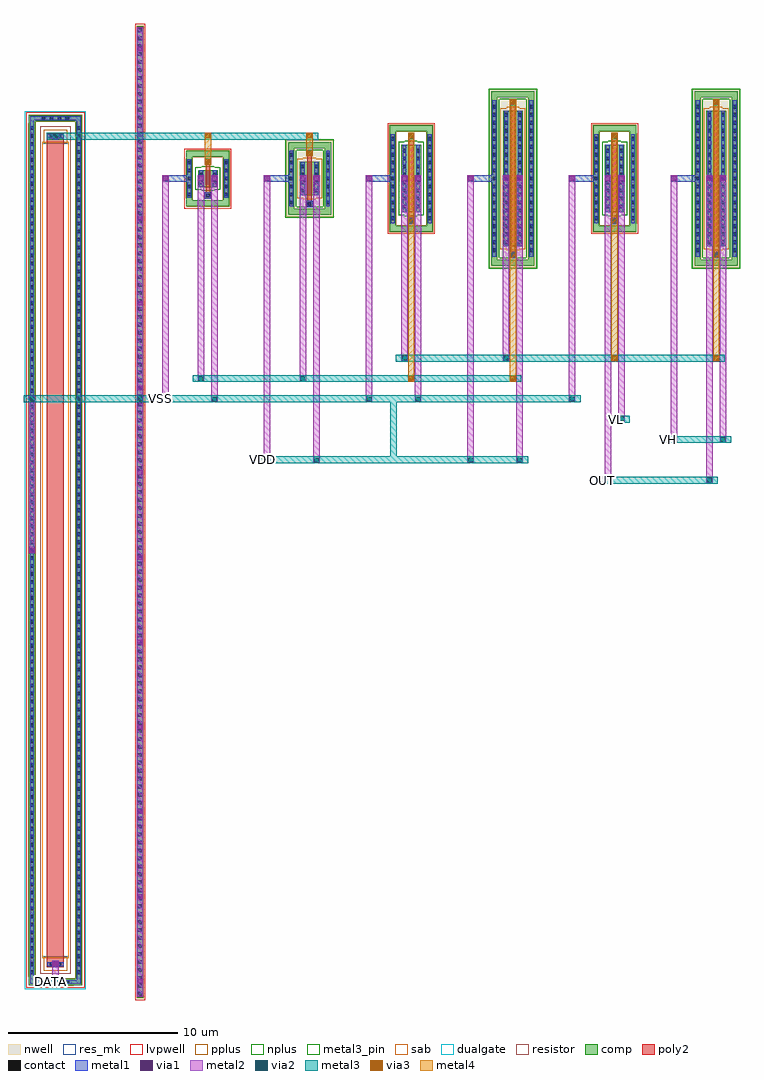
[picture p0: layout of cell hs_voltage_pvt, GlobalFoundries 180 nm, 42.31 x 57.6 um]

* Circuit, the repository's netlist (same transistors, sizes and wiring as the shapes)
* NGSPICE file created from hs_voltage_pvt.ext - technology: gf180mcuD

.subckt hs_voltage_pvt DATA OUT VH VL VSS
X0 VL a_3084_3600# OUT VSS nfet_03v3 ad=1.76p pd=8.88u as=1.76p ps=8.88u w=4u l=0.28u
X1 a_n1100_4414# DATA VSS ppolyf_u_1k_6p0 r_width=1u r_length=48u
X2 VSS a_684_3900# a_3084_3600# VSS nfet_03v3 ad=1.76p pd=8.88u as=1.76p ps=8.88u w=4u l=0.28u
X3 VSS a_n1100_4414# a_684_3900# VSS nfet_03v3 ad=0.44p pd=2.88u as=0.44p ps=2.88u w=1u l=0.28u
X4 VH a_3084_3600# OUT VH pfet_03v3 ad=3.52p pd=16.88u as=3.52p ps=16.88u w=8u l=0.28u
X5 VSS a_n1100_4414# a_684_3900# VSS pfet_03v3 ad=0.88p pd=4.88u as=0.88p ps=4.88u w=2u l=0.28u
X6 VSS a_684_3900# a_3084_3600# VSS pfet_03v3 ad=3.52p pd=16.88u as=3.52p ps=16.88u w=8u l=0.28u
.ends

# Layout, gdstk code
import gdstk
lib = gdstk.Library(unit=1e-6, precision=1e-09)
def R(c, l, rs):  # rectangles x0, y0, x1, y1
    for r in rs: c.add(gdstk.rectangle(r[:2], r[2:], *l))
def A(c, l, x, y, w, h, nx, ny, dx, dy):  # array of equal rectangles
    R(c, l, [(x+i*dx, y+j*dy, x+i*dx+w, y+j*dy+h) for i in range(nx) for j in range(ny)])
def P(c, l, *ps):  # polygons
    for p in ps: c.add(gdstk.Polygon(p, *l))
nwell = (21, 0)
comp = (22, 0)
poly2 = (30, 0)
pplus = (31, 0)
nplus = (32, 0)
contact = (33, 0)
metal1 = (34, 0)
via1 = (35, 0)
metal2 = (36, 0)
via2 = (38, 0)
via3 = (40, 0)
metal3 = (42, 0)
metal3_pin = (42, 10)
metal4 = (46, 0)
sab = (49, 0)
dualgate = (55, 0)
resistor = (62, 0)
res_mk = (110, 5)
lvpwell = (204, 0)

hs_voltage_pvt = lib.new_cell('hs_voltage_pvt')
R(hs_voltage_pvt, nwell, [(20.61,14.73,23.39,25.27), (32.61,14.73,35.39,25.27), (8.61,17.73,11.39,22.27)])
R(hs_voltage_pvt, comp, [(-0.18,-28.36,0.18,29), (-6.56,-27.6,-3.44,-27.24), (-6.56,-27.24,-6.2,23.38), (-3.8,-27.24,-3.44,23.38), (20.73,14.85,23.27,15.21), (32.73,14.85,35.27,15.21), (20.73,15.21,21.09,24.79), (22.91,15.21,23.27,24.79), (32.73,15.21,33.09,24.79), (34.91,15.21,35.27,24.79), (21.42,16,22.58,24), (33.42,16,34.58,24), (14.73,16.85,17.27,17.21), (26.73,16.85,29.27,17.21), (14.73,17.21,15.09,22.79), (16.91,17.21,17.27,22.79), (26.73,17.21,27.09,22.79), (28.91,17.21,29.27,22.79), (8.73,17.85,11.27,18.21), (15.42,18,16.58,22), (27.42,18,28.58,22), (8.73,18.21,9.09,21.79), (10.91,18.21,11.27,21.79), (2.73,18.35,5.27,18.71), (2.73,18.71,3.09,21.29), (4.91,18.71,5.27,21.29), (9.42,19,10.58,21), (3.42,19.5,4.58,20.5), (2.73,21.29,5.27,21.65), (8.73,21.79,11.27,22.15), (14.73,22.79,17.27,23.15), (26.73,22.79,29.27,23.15), (-6.56,23.38,-3.44,23.74), (20.73,24.79,23.27,25.15), (32.73,24.79,35.27,25.15)])
R(hs_voltage_pvt, poly2, [(-5.5,-26.54,-4.5,22.68), (21.82,15.32,22.18,15.68), (33.82,15.32,34.18,15.68), (21.86,15.68,22.14,24.32), (33.86,15.68,34.14,24.32), (15.82,17.32,16.18,17.68), (27.82,17.32,28.18,17.68), (15.86,17.68,16.14,22.32), (27.86,17.68,28.14,22.32), (9.82,18.32,10.18,18.68), (9.86,18.68,10.14,21.32), (3.82,18.82,4.18,19.18), (3.86,19.18,4.14,20.82), (3.82,20.82,4.18,21.18), (9.82,21.32,10.18,21.68), (15.82,22.32,16.18,22.68), (27.82,22.32,28.18,22.68), (21.82,24.32,22.18,24.68), (33.82,24.32,34.18,24.68)])
R(hs_voltage_pvt, pplus, [(-0.21,-28.39,0.21,29.03), (-6.075,-27.63,-3.925,-27.62), (-6.58,-27.62,-3.42,-27.21), (-6.58,-27.21,-6.17,-27.115), (-3.83,-27.21,-3.42,-27.115), (-6.59,-27.115,-6.17,23.255), (-3.83,-27.115,-3.41,23.255), (-5.7,-26.74,-4.3,-25.93), (21.63,15.77,22.37,15.84), (33.63,15.77,34.37,15.84), (21.26,15.84,22.74,24.16), (33.26,15.84,34.74,24.16), (14.71,16.83,17.29,17.23), (26.71,16.83,29.29,17.23), (14.71,17.23,15.12,17.335), (16.88,17.23,17.29,17.335), (26.71,17.23,27.12,17.335), (28.88,17.23,29.29,17.335), (14.7,17.335,15.12,22.665), (16.88,17.335,17.3,22.665), (26.7,17.335,27.12,22.665), (28.88,17.335,29.3,22.665), (2.71,18.33,5.29,18.73), (2.71,18.73,3.12,18.835), (4.88,18.73,5.29,18.835), (9.63,18.77,10.37,18.84), (2.7,18.835,3.12,21.165), (4.88,18.835,5.3,21.165), (9.26,18.84,10.74,21.16), (9.63,21.16,10.37,21.23), (2.71,21.165,3.12,21.27), (4.88,21.165,5.29,21.27), (2.71,21.27,5.29,21.67), (-5.7,22.07,-4.3,22.88), (14.71,22.665,15.12,22.77), (16.88,22.665,17.29,22.77), (26.71,22.665,27.12,22.77), (28.88,22.665,29.29,22.77), (14.71,22.77,17.29,23.17), (26.71,22.77,29.29,23.17), (-6.58,23.255,-6.17,23.35), (-3.83,23.255,-3.42,23.35), (-6.58,23.35,-3.42,23.76), (-6.075,23.76,-3.925,23.77), (21.63,24.16,22.37,24.23), (33.63,24.16,34.37,24.23)])
R(hs_voltage_pvt, nplus, [(20.57,14.69,23.43,15.32), (32.57,14.69,35.43,15.32), (20.57,15.32,21.2,24.68), (22.8,15.32,23.43,24.68), (32.57,15.32,33.2,24.68), (34.8,15.32,35.43,24.68), (8.57,17.69,11.43,18.32), (15.63,17.77,16.37,17.84), (27.63,17.77,28.37,17.84), (15.26,17.84,16.74,22.16), (27.26,17.84,28.74,22.16), (8.57,18.32,9.2,21.68), (10.8,18.32,11.43,21.68), (3.63,19.27,4.37,19.34), (3.26,19.34,4.74,20.66), (3.63,20.66,4.37,20.73), (8.57,21.68,11.43,22.31), (15.63,22.16,16.37,22.23), (27.63,22.16,28.37,22.23), (20.57,24.68,23.43,25.31), (32.57,24.68,35.43,25.31)])
A(hs_voltage_pvt, contact, -0.11, -28.225, 0.22, 0.22, 1, 122, 0, 0.47)
A(hs_voltage_pvt, contact, -5.815, -27.53, 0.22, 0.22, 4, 2, 0.47, 50.98)
A(hs_voltage_pvt, contact, -6.49, -26.95, 0.22, 0.22, 1, 107, 0, 0.47)
A(hs_voltage_pvt, contact, -3.73, -26.95, 0.22, 0.22, 1, 107, 0, 0.47)
A(hs_voltage_pvt, contact, 20.8, 15.66, 0.22, 0.22, 1, 19, 0, 0.47)
A(hs_voltage_pvt, contact, 22.98, 15.66, 0.22, 0.22, 1, 19, 0, 0.47)
A(hs_voltage_pvt, contact, 32.8, 15.66, 0.22, 0.22, 1, 19, 0, 0.47)
A(hs_voltage_pvt, contact, 34.98, 15.66, 0.22, 0.22, 1, 19, 0, 0.47)
A(hs_voltage_pvt, contact, 21.49, 16.13, 0.22, 0.22, 1, 17, 0, 0.47)
A(hs_voltage_pvt, contact, 22.29, 16.13, 0.22, 0.22, 1, 17, 0, 0.47)
A(hs_voltage_pvt, contact, 33.49, 16.13, 0.22, 0.22, 1, 17, 0, 0.47)
A(hs_voltage_pvt, contact, 34.29, 16.13, 0.22, 0.22, 1, 17, 0, 0.47)
A(hs_voltage_pvt, contact, 14.8, 17.54, 0.22, 0.22, 1, 11, 0, 0.47)
A(hs_voltage_pvt, contact, 16.98, 17.54, 0.22, 0.22, 1, 11, 0, 0.47)
A(hs_voltage_pvt, contact, 26.8, 17.54, 0.22, 0.22, 1, 11, 0, 0.47)
A(hs_voltage_pvt, contact, 28.98, 17.54, 0.22, 0.22, 1, 11, 0, 0.47)
A(hs_voltage_pvt, contact, 15.49, 18.245, 0.22, 0.22, 1, 8, 0, 0.47)
A(hs_voltage_pvt, contact, 16.29, 18.245, 0.22, 0.22, 1, 8, 0, 0.47)
A(hs_voltage_pvt, contact, 27.49, 18.245, 0.22, 0.22, 1, 8, 0, 0.47)
A(hs_voltage_pvt, contact, 28.29, 18.245, 0.22, 0.22, 1, 8, 0, 0.47)
A(hs_voltage_pvt, contact, 8.8, 18.48, 0.22, 0.22, 1, 7, 0, 0.47)
A(hs_voltage_pvt, contact, 10.98, 18.48, 0.22, 0.22, 1, 7, 0, 0.47)
A(hs_voltage_pvt, contact, 2.8, 18.95, 0.22, 0.22, 1, 5, 0, 0.47)
A(hs_voltage_pvt, contact, 4.98, 18.95, 0.22, 0.22, 1, 5, 0, 0.47)
A(hs_voltage_pvt, contact, 9.49, 19.185, 0.22, 0.22, 1, 4, 0, 0.47)
A(hs_voltage_pvt, contact, 10.29, 19.185, 0.22, 0.22, 1, 4, 0, 0.47)
R(hs_voltage_pvt, contact, [(-5.345,-26.47,-5.125,-26.25), (-4.875,-26.47,-4.655,-26.25), (21.89,15.39,22.11,15.61), (33.89,15.39,34.11,15.61), (15.89,17.39,16.11,17.61), (27.89,17.39,28.11,17.61), (9.89,18.39,10.11,18.61), (3.89,18.89,4.11,19.11), (3.49,19.655,3.71,19.875), (4.29,19.655,4.51,19.875), (3.49,20.125,3.71,20.345), (4.29,20.125,4.51,20.345), (3.89,20.89,4.11,21.11), (9.89,21.39,10.11,21.61), (-5.345,22.39,-5.125,22.61), (-4.875,22.39,-4.655,22.61), (15.89,22.39,16.11,22.61), (27.89,22.39,28.11,22.61), (21.89,24.39,22.11,24.61), (33.89,24.39,34.11,24.61)])
A(hs_voltage_pvt, metal1, 1.31, 19.81, 1.72, 0.38, 6, 1, 6, 0)
R(hs_voltage_pvt, metal1, [(-0.19,-28.295,0.19,28.935), (-6.495,-27.535,-3.505,-27.305), (-6.495,-27.305,-6.265,-2.12), (-3.735,-27.305,-3.505,23.445), (-5.19,-26.55,-4.81,-26.475), (-5.49,-26.475,-4.51,-26.245), (-5.19,-26.245,-4.81,-26.17), (-6.57,-2.12,-6.19,-1.74), (-6.495,-1.74,-6.265,23.445), (21.81,15.31,22.19,15.69), (33.81,15.31,34.19,15.69), (20.795,15.375,21.025,19.81), (22.975,15.375,23.205,24.625), (32.795,15.375,33.025,19.81), (34.975,15.375,35.205,24.625), (21.485,16.01,21.715,19.81), (22.285,16.01,22.515,19.81), (33.485,16.01,33.715,19.81), (34.285,16.01,34.515,19.81), (15.81,17.31,16.19,17.69), (27.81,17.31,28.19,17.69), (14.795,17.375,15.025,19.81), (16.975,17.375,17.205,22.625), (26.795,17.375,27.025,19.81), (28.975,17.375,29.205,22.625), (15.485,18.01,15.715,19.81), (16.285,18.01,16.515,19.81), (27.485,18.01,27.715,19.81), (28.285,18.01,28.515,19.81), (9.81,18.31,10.19,18.69), (8.795,18.375,9.025,19.81), (10.975,18.375,11.205,21.625), (3.81,18.81,4.19,19.19), (2.795,18.875,3.025,19.81), (4.975,18.875,5.205,21.125), (9.485,19.01,9.715,19.81), (10.285,19.01,10.515,19.81), (3.485,19.51,3.715,19.81), (4.285,19.51,4.515,19.81), (3.41,19.81,3.79,20.19), (4.21,19.81,4.59,20.19), (9.41,19.81,9.79,20.19), (10.21,19.81,10.59,20.19), (15.41,19.81,15.79,20.19), (16.21,19.81,16.59,20.19), (21.41,19.81,21.79,20.19), (22.21,19.81,22.59,20.19), (27.41,19.81,27.79,20.19), (28.21,19.81,28.59,20.19), (33.41,19.81,33.79,20.19), (34.21,19.81,34.59,20.19), (2.795,20.19,3.025,21.125), (3.485,20.19,3.715,20.49), (4.285,20.19,4.515,20.49), (8.795,20.19,9.025,21.625), (9.485,20.19,9.715,20.99), (10.285,20.19,10.515,20.99), (14.795,20.19,15.025,22.625), (15.485,20.19,15.715,21.99), (16.285,20.19,16.515,21.99), (20.795,20.19,21.025,24.625), (21.485,20.19,21.715,23.99), (22.285,20.19,22.515,23.99), (26.795,20.19,27.025,22.625), (27.485,20.19,27.715,21.99), (28.285,20.19,28.515,21.99), (32.795,20.19,33.025,24.625), (33.485,20.19,33.715,23.99), (34.285,20.19,34.515,23.99), (3.81,20.81,4.19,21.19), (9.81,21.31,10.19,21.69), (-5.19,22.31,-4.81,22.385), (15.81,22.31,16.19,22.69), (27.81,22.31,28.19,22.69), (-5.49,22.385,-4.51,22.615), (-5.19,22.615,-4.81,22.69), (-6.495,23.445,-3.505,23.675), (21.81,24.31,22.19,24.69), (33.81,24.31,34.19,24.69)])
A(hs_voltage_pvt, via1, -0.13, -27.49, 0.26, 0.26, 1, 12, 0, 5)
R(hs_voltage_pvt, via1, [(-5.13,-26.49,-4.87,-26.23), (-6.51,-2.06,-6.25,-1.8), (1.37,19.87,1.63,20.13), (3.47,19.87,3.73,20.13), (4.27,19.87,4.53,20.13), (7.37,19.87,7.63,20.13), (9.47,19.87,9.73,20.13), (10.27,19.87,10.53,20.13), (13.37,19.87,13.63,20.13), (15.47,19.87,15.73,20.13), (16.27,19.87,16.53,20.13), (19.37,19.87,19.63,20.13), (21.47,19.87,21.73,20.13), (22.27,19.87,22.53,20.13), (25.37,19.87,25.63,20.13), (27.47,19.87,27.73,20.13), (28.27,19.87,28.53,20.13), (31.37,19.87,31.63,20.13), (33.47,19.87,33.73,20.13), (34.27,19.87,34.53,20.13), (3.87,20.87,4.13,21.13), (9.87,21.37,10.13,21.63), (-5.13,22.37,-4.87,22.63), (15.87,22.37,16.13,22.63), (27.87,22.37,28.13,22.63), (21.87,24.37,22.13,24.63), (33.87,24.37,34.13,24.63)])
R(hs_voltage_pvt, metal2, [(-0.19,-28.295,0.19,28.935), (-5.19,-27.55,-4.81,-26.17), (-6.57,-2.12,-6.19,7.19), (27.41,2.01,27.79,20.19), (33.41,2.01,33.79,20.19), (7.31,3.21,7.69,20.19), (10.21,3.21,10.59,20.19), (19.31,3.21,19.69,20.19), (22.21,3.21,22.59,20.19), (31.31,4.41,31.69,20.19), (34.21,4.41,34.59,20.19), (28.21,5.61,28.59,20.19), (1.31,6.81,1.69,20.19), (4.21,6.81,4.59,20.19), (13.31,6.81,13.69,20.19), (16.21,6.81,16.59,20.19), (25.31,6.81,25.69,20.19), (3.41,8.01,3.79,20.19), (9.41,8.01,9.79,20.19), (15.41,9.21,15.79,20.19), (21.41,9.21,21.79,20.19), (3.81,20.81,4.19,21.19), (9.81,21.31,10.19,21.69), (-5.19,22.31,-4.81,22.69), (15.81,22.31,16.19,22.69), (27.81,22.31,28.19,22.69), (21.81,24.31,22.19,24.69), (33.81,24.31,34.19,24.69)])
R(hs_voltage_pvt, via2, [(-5.13,-27.49,-4.87,-27.23), (27.47,2.07,27.73,2.33), (33.47,2.07,33.73,2.33), (7.37,3.27,7.63,3.53), (10.27,3.27,10.53,3.53), (19.37,3.27,19.63,3.53), (22.27,3.27,22.53,3.53), (31.37,4.47,31.63,4.73), (34.27,4.47,34.53,4.73), (28.27,5.67,28.53,5.93), (-6.51,6.87,-6.25,7.13), (-0.13,6.87,0.13,7.13), (1.37,6.87,1.63,7.13), (4.27,6.87,4.53,7.13), (13.37,6.87,13.63,7.13), (16.27,6.87,16.53,7.13), (25.37,6.87,25.63,7.13), (3.47,8.07,3.73,8.33), (9.47,8.07,9.73,8.33), (15.47,9.27,15.73,9.53), (21.47,9.27,21.73,9.53), (3.87,20.87,4.13,21.13), (9.87,21.37,10.13,21.63), (-5.13,22.37,-4.87,22.63), (15.87,22.37,16.13,22.63), (27.87,22.37,28.13,22.63), (21.87,24.37,22.13,24.63), (33.87,24.37,34.13,24.63)])
A(hs_voltage_pvt, via3, 3.87, 22.37, 0.26, 0.26, 3, 1, 6, 0)
R(hs_voltage_pvt, via3, [(15.87,8.07,16.13,8.33), (21.87,8.07,22.13,8.33), (27.87,9.27,28.13,9.53), (33.87,9.27,34.13,9.53), (3.87,20.87,4.13,21.13), (9.87,21.37,10.13,21.63), (27.87,22.37,28.13,22.63), (21.87,24.37,22.13,24.63), (33.87,24.37,34.13,24.63)])
R(hs_voltage_pvt, metal3, [(-5.5,-27.56,-4.5,-27.16), (27.1,2,34.1,2.4), (31,4.4,34.9,4.8), (27.9,5.6,28.9,6), (3.1,8,22.5,8.4), (15.1,9.2,34.5,9.6), (3.81,20.81,4.19,21.19), (9.81,21.31,10.19,21.69), (-5.5,22.3,10.5,22.7), (15.81,22.31,16.19,22.69), (27.81,22.31,28.19,22.69), (21.81,24.31,22.19,24.69), (33.81,24.31,34.19,24.69)])
P(hs_voltage_pvt, metal3, [(7,3.2),(7,3.6),(14.75,3.6),(14.75,6.8),(-6.88,6.8),(-6.88,7.2),(26,7.2),(26,6.8),(15.15,6.8),(15.15,3.6),(22.9,3.6),(22.9,3.2)])
R(hs_voltage_pvt, metal3_pin, [(-5.4,-27.46,-5.2,-27.26), (27.2,2.1,27.4,2.3), (7.1,3.3,7.3,3.5), (31.1,4.5,31.3,4.7), (28,5.7,28.2,5.9), (1.1,6.9,1.3,7.1)])
R(hs_voltage_pvt, metal4, [(15.81,8.01,16.19,22.69), (21.81,8.01,22.19,24.69), (27.81,9.21,28.19,22.69), (33.81,9.21,34.19,24.69), (3.81,20.81,4.19,22.69), (9.81,21.31,10.19,22.69)])
R(hs_voltage_pvt, sab, [(-5.78,-26.03,-4.22,22.17), (-5.78,-25.93,-4.22,22.07)])
R(hs_voltage_pvt, dualgate, [(-6.8,-27.84,-3.2,23.98)])
R(hs_voltage_pvt, resistor, [(-5.9,-26.94,-4.1,23.08)])
R(hs_voltage_pvt, res_mk, [(-5.78,-25.93,-4.22,22.07), (-5.5,-25.93,-4.5,22.07)])
R(hs_voltage_pvt, lvpwell, [(-0.3,-28.48,0.3,29.12), (-6.72,-27.76,-3.28,23.9), (14.61,16.73,17.39,23.27), (26.61,16.73,29.39,23.27), (2.61,18.23,5.39,21.77)])
hs_voltage_pvt.add(gdstk.Label('DATA', (-5.3,-27.36), layer=42, texttype=10))
hs_voltage_pvt.add(gdstk.Label('OUT', (27.3,2.2), layer=42, texttype=10))
hs_voltage_pvt.add(gdstk.Label('VDD', (7.2,3.4), layer=42, texttype=10))
hs_voltage_pvt.add(gdstk.Label('VH', (31.2,4.6), layer=42, texttype=10))
hs_voltage_pvt.add(gdstk.Label('VL', (28.1,5.8), layer=42, texttype=10))
hs_voltage_pvt.add(gdstk.Label('VSS', (1.2,7), layer=42, texttype=10))

lib.write_gds('hs_voltage_pvt.gds')
